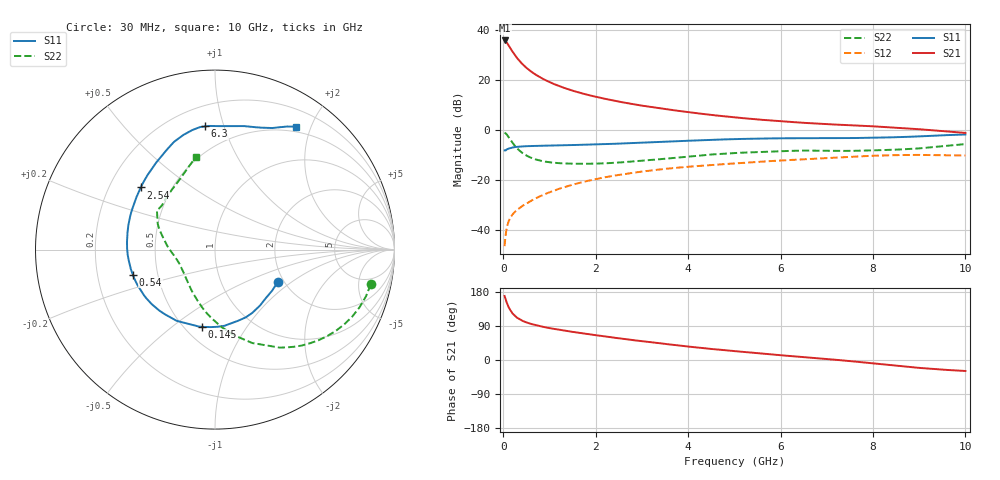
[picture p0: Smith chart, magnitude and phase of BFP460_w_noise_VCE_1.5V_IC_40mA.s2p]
! (c) 2016  Infineon Technologies AG, Munich
! Infineon Technologies  Discrete & RF Semiconductors
! BFP460
! VCE =  1.5 V,  IC =  40 mA
! Common Emitter S-Parameters:  Jan 2016
# GHz  S  MA  R  50
!  f  S11  S21  S12  S22
! GHz  MAG  ANG  MAG  ANG  MAG  ANG  MAG  ANG
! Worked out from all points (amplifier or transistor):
!   229 points, 30 MHz to 10 GHz, reference 50 ohm
!   highest |S21| = 35.8 dB at 30 MHz (marker M1)
!   |S21| within 3 dB of that: start of sweep to 151.1 MHz
!   unconditionally stable (mu >= 1): 1.186 GHz to 7.921 GHz
!   at 280 MHz: K = 0.61, MSG = 30.8 dB, |S12| = -32.2 dB
!   at 1.78 GHz: K = 1.03, MAG = 16.3 dB, |S12| = -20.5 dB
!   at 10 GHz: K = 0.98, MSG = 4.5 dB, |S12| = -10.1 dB
!   lowest NFmin = 1.63 dB at 3.5 GHz
!   S11 on the Smith chart (normalised r, x): 30 MHz: 1.85, -0.80; 145 MHz: 0.60, -0.64; 540 MHz: 0.36, -0.13; 2.54 GHz: 0.33, +0.33; 6.3 GHz: 0.33, +0.87; 10 GHz: 0.43, +1.78
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0.03  0.3931 -27.6  61.97 168.8  0.0048 83.7  0.8895 -12.6
0.05  0.3914 -43.5  59.71 160.3  0.0076 76.9  0.8673 -21.7
0.07  0.4092 -59.5  57.29 153.2  0.0102 73.8  0.8317 -30.1
0.08  0.4146 -65.7  55.73 150.2  0.0115 70.8  0.8105 -34.1
0.11  0.4278 -82.9  50.65 141.3  0.0144 66.3  0.7426 -44.7
0.145  0.4362 -99.8  44.86 132.9  0.0172 62.1  0.6644 -55.2
0.2  0.4507 -118.3  37.22 123.0  0.0206 58.7  0.5609 -68.2
0.26  0.4599 -132.2  30.93 115.6  0.0236 57.5  0.477 -78.9
0.3  0.4655 -139.2  27.58 111.5  0.0254 57.4  0.4335 -85.1
0.4  0.4722 -151.7  21.59 104.2  0.0298 58.1  0.3583 -97.2
0.54  0.4784 -163.1  16.53 97.8  0.0359 59.8  0.2987 -109.3
0.7  0.4841 -172.1  12.86 91.9  0.0432 61.3  0.2604 -120.5
1  0.4916 176.2  9.134 84.2  0.0572 62.5  0.2282 -134.6
1.3  0.4981 167.3  7.074 77.9  0.0716 62.0  0.2166 -144.2
1.7  0.5089 157.5  5.444 70.7  0.0907 60.1  0.2124 -153.6
2.54  0.5397 140.1  3.663 56.7  0.1293 53.5  0.2266 -169.9
3.4  0.5794 125.6  2.721 44.0  0.1643 45.6  0.263 176.5
5.1  0.6654 104.5  1.765 22.4  0.2193 31.8  0.3523 155.1
6.3  0.6888 94.6  1.442 9.6  0.2554 22.5  0.3866 146.6
6.8  0.6884 90.2  1.35 4.6  0.2699 18.9  0.3881 144.3
8.4  0.7181 71.7  1.134 -13.7  0.3157 4.2  0.4044 128.8
10  0.8197 56.7  0.88 -29.0  0.3116 -8.5  0.5268 101.6
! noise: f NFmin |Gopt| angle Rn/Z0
0.45  1.67  0.27  -170  0.11
0.9  1.7  0.24  -162  0.13
1.9  1.79  0.34  -141  0.14
3.5  1.63  0.57  -118  0.22
